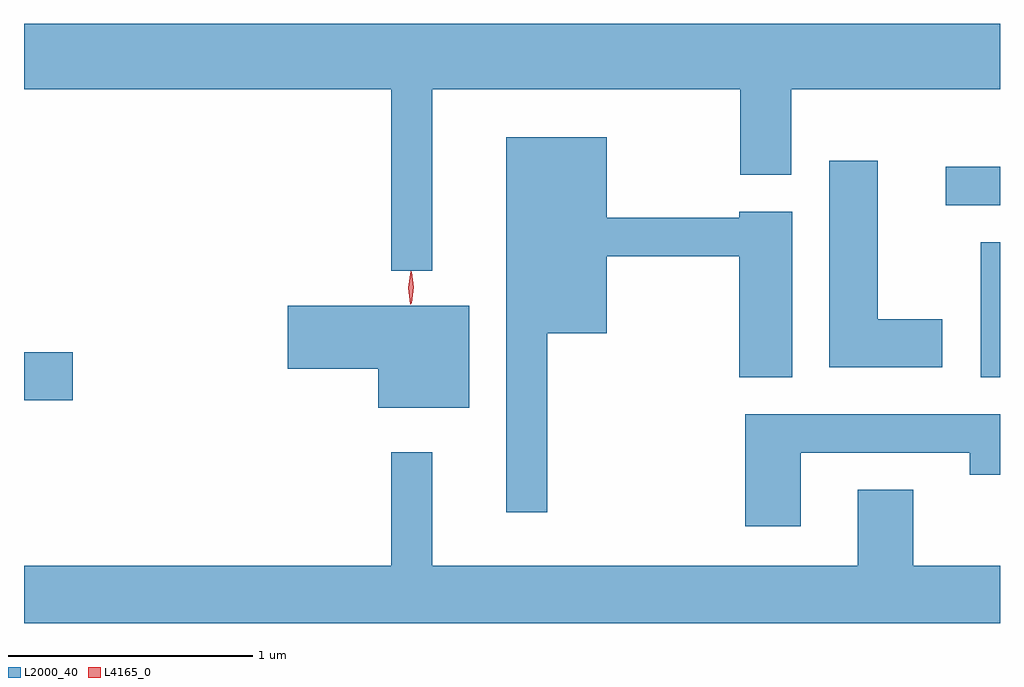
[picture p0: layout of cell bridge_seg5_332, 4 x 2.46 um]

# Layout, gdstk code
import gdstk
lib = gdstk.Library(unit=1e-6, precision=1e-09)
def R(c, l, rs):  # rectangles x0, y0, x1, y1
    for r in rs: c.add(gdstk.rectangle(r[:2], r[2:], *l))
def P(c, l, *ps):  # polygons
    for p in ps: c.add(gdstk.Polygon(p, *l))
L2000_40 = (2000, 40)
L4165_0 = (4165, 0)

bridge_seg5_332 = lib.new_cell('bridge_seg5_332')
R(bridge_seg5_332, L2000_40, [(667.465,1420.001,667.664,1420.199), (671.386,1420.096,671.465,1420.649), (671.243,1420.801,671.465,1420.959)])
P(bridge_seg5_332, L2000_40, [(669.139,1421.276),(670.401,1421.276),(670.401,1420.926),(670.609,1420.926),(670.609,1421.276),(671.465,1421.276),(671.465,1421.544),(667.465,1421.544),(667.465,1421.276),(668.971,1421.276),(668.971,1420.533),(669.139,1420.533)],
  [(669.609,1420.276),(669.854,1420.276),(669.854,1420.591),(670.396,1420.591),(670.396,1420.096),(670.614,1420.096),(670.614,1420.774),(670.396,1420.774),(670.396,1420.749),(669.854,1420.749),(669.854,1421.079),(669.441,1421.079),(669.441,1419.543),(669.609,1419.543)],
  [(671.229,1420.334),(670.964,1420.334),(670.964,1420.984),(670.766,1420.984),(670.766,1420.136),(671.229,1420.136)],
  [(669.289,1420.389),(668.546,1420.389),(668.546,1420.131),(668.916,1420.131),(668.916,1419.971),(669.289,1419.971)],
  [(670.649,1419.786),(671.341,1419.786),(671.341,1419.696),(671.465,1419.696),(671.465,1419.944),(670.421,1419.944),(670.421,1419.486),(670.649,1419.486)],
  [(671.465,1419.324),(671.109,1419.324),(671.109,1419.634),(670.881,1419.634),(670.881,1419.324),(669.139,1419.324),(669.139,1419.788),(668.971,1419.788),(668.971,1419.324),(667.465,1419.324),(667.465,1419.088),(671.465,1419.088)])
P(bridge_seg5_332, L4165_0, [(669.053,1420.4),(669.053,1420.4),(669.043,1420.464),(669.053,1420.526),(669.053,1420.527),(669.054,1420.526),(669.063,1420.464),(669.054,1420.4)],
  [(669.049,1420.394),(669.049,1420.394),(669.04,1420.462),(669.05,1420.53),(669.051,1420.53),(669.052,1420.53),(669.06,1420.462),(669.05,1420.394)])

lib.write_gds('bridge_seg5_332.gds')
